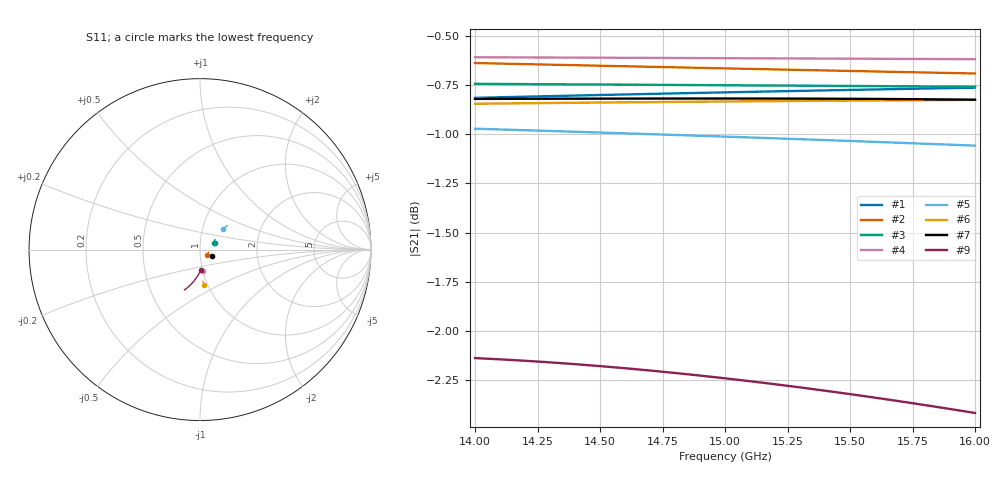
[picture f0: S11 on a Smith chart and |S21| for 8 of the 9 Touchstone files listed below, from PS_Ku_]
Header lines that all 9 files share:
# hz S ma R 50
! 2 Port Network Data from Sweep1.SP1.SP block
! freq  magS11  angS11  magS21  angS21  magS12  angS12  magS22  angS22
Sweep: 14 GHz to 16 GHz
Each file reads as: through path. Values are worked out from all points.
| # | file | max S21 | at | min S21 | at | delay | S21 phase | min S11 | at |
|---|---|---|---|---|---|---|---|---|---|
| 1 | 5.625_10_0.s2p | -0.76 dB | 16 GHz | -0.8 dB | 14 GHz | 4.79 ps | -22 deg at 15 GHz | -20.5 dB | 14 GHz |
| 2 | 5.625_10_1.s2p | -0.64 dB | 14 GHz | -0.7 dB | 16 GHz | 4.78 ps | -16 deg at 15 GHz | -25.9 dB | 14.6 GHz |
| 3 | 11.25_10_0.s2p | -0.74 dB | 14 GHz | -0.8 dB | 16 GHz | 4.25 ps | -22 deg at 15 GHz | -21.2 dB | 14 GHz |
| 4 | 11.25_10_1.s2p | -0.61 dB | 14 GHz | -0.6 dB | 16 GHz | 3.98 ps | -11 deg at 15 GHz | -18.4 dB | 16 GHz |
| 5 | 22.5_10_0.s2p | -0.97 dB | 14 GHz | -1.1 dB | 16 GHz | 5.81 ps | -28 deg at 15 GHz | -14.8 dB | 14 GHz |
| 6 | 22.5_10_1.s2p | -0.82 dB | 16 GHz | -0.8 dB | 14 GHz | 4.79 ps | -5 deg at 15 GHz | -14.5 dB | 16 GHz |
| 7 | 45_10_0.s2p | -0.82 dB | 14.9 GHz | -0.8 dB | 16 GHz | 10.8 ps | -48 deg at 15 GHz | -22.0 dB | 14 GHz |
| 8 | 45_10_1.s2p | -0.94 dB | 16 GHz | -1.1 dB | 14 GHz | - | -3 deg at 15 GHz | -19.3 dB | 16 GHz |
| 9 | 90_10_1.s2p | -2.14 dB | 14 GHz | -2.4 dB | 16 GHz | - | -30 deg at 15 GHz | -18.4 dB | 14 GHz |
